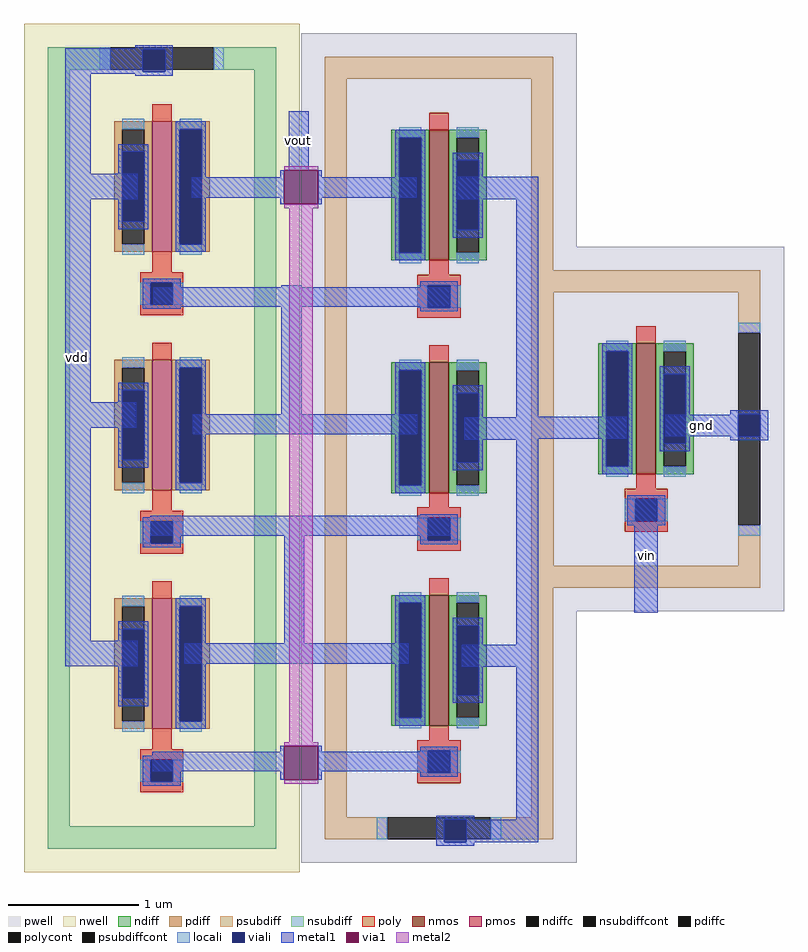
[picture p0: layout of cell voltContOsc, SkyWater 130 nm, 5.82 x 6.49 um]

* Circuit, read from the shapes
.subckt voltContOsc vin vout vdd gnd
XM1 gnd vout n1 gnd sky130_fd_pr__nfet_01v8 w=1 l=0.15
XM2 gnd n1 n2 gnd sky130_fd_pr__nfet_01v8 w=1 l=0.15
XM3 gnd n2 vout gnd sky130_fd_pr__nfet_01v8 w=1 l=0.15
XM4 gnd vin gnd gnd sky130_fd_pr__nfet_01v8 w=1 l=0.15
XM5 n1 vout vdd vdd sky130_fd_pr__pfet_01v8 w=1 l=0.15
XM6 n2 n1 vdd vdd sky130_fd_pr__pfet_01v8 w=1 l=0.15
XM7 vout n2 vdd vdd sky130_fd_pr__pfet_01v8 w=1 l=0.15
.ends

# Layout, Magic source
magic
tech sky130B
magscale 1 2
<< viali >>
rect 127 1158 161 1192
rect 1038 600 1072 634
rect 588 -21 622 13
<< metal1 >>
rect 115 1194 173 1198
rect 8 1192 173 1194
rect 8 1158 127 1192
rect 161 1158 173 1192
rect 8 1155 173 1158
rect 8 1002 47 1155
rect 115 1152 173 1155
rect 350 1007 381 1097
rect 8 963 119 1002
rect 337 996 343 1007
rect 202 965 343 996
rect 8 652 47 963
rect 337 955 343 965
rect 395 996 401 1007
rect 395 965 546 996
rect 395 955 401 965
rect 609 963 732 997
rect 339 828 370 831
rect 143 798 603 828
rect 8 613 117 652
rect 339 634 370 798
rect 8 287 47 613
rect 203 603 547 634
rect 698 630 732 963
rect 1026 634 1084 640
rect 1026 633 1038 634
rect 698 629 867 630
rect 619 596 867 629
rect 926 600 1038 633
rect 1072 600 1084 634
rect 619 595 732 596
rect 138 448 598 478
rect 8 248 119 287
rect 343 283 374 448
rect 190 252 534 283
rect 698 281 732 595
rect 1026 594 1084 600
rect 879 330 915 504
rect 615 247 732 281
rect 337 117 343 126
rect 141 87 343 117
rect 337 74 343 87
rect 395 117 401 126
rect 395 87 601 117
rect 395 74 401 87
rect 576 13 634 19
rect 698 13 732 247
rect 576 -21 588 13
rect 622 -21 732 13
rect 576 -27 634 -21
<< via1 >>
rect 343 955 395 1007
rect 343 74 395 126
<< metal2 >>
rect 343 1007 395 1013
rect 343 949 395 955
rect 351 132 387 949
rect 343 126 395 132
rect 343 68 395 74
use sky130_fd_pr__nfet_01v8_9HPPAM  sky130_fd_pr__nfet_01v8_9HPPAM_0
transform 1 0 580 0 1 582
box -211 -635 211 635
use sky130_fd_pr__nfet_01v8_B9CNTR  sky130_fd_pr__nfet_01v8_B9CNTR_0
transform 1 0 897 0 1 611
box -211 -279 211 279
use sky130_fd_pr__pfet_01v8_ZPUQXV  sky130_fd_pr__pfet_01v8_ZPUQXV_0
transform -1 0 156 0 1 582
box -211 -649 211 649
<< labels >>
flabel metal1 879 330 915 504 0 FreeSans 480 0 0 0 vin
port 1 nsew
flabel metal1 926 600 1038 633 0 FreeSans 480 0 0 0 gnd
port 4 nsew
flabel metal1 350 1007 381 1097 0 FreeSans 480 0 0 0 vout
port 2 nsew
flabel metal1 8 248 47 1194 0 FreeSans 480 0 0 0 vdd
port 3 nsew
<< end >>

# cell sky130_fd_pr__nfet_01v8_9HPPAM: kit device sky130_fd_pr__nfet_01v8, w 1 l 0.150 m 3 nf 1 diffcov 100 polycov 100 guard 1 glc 0 grc 0 gtc 0 gbc 1 tbcov 100 rlcov 100 topc 0 botc 1 poverlap 0 doverlap 1 lmin 0.15 wmin 0.42 compatible {sky130_fd_pr__nfet_01v8 sky130_fd_pr__nfet_01v8_lvt sky130_fd_bs_flash__special_sonosfet_star sky130_fd_pr__nfet_g5v0d10v5 sky130_fd_pr__nfet_05v0_nvt sky130_fd_pr__nfet_03v3_nvt} full_metal 0 viasrc 60 viadrn 100 viagate 100 viagb 0 viagr 0 viagl 0 viagt 0

# cell sky130_fd_pr__nfet_01v8_B9CNTR: kit device sky130_fd_pr__nfet_01v8, w 1 l 0.150 m 1 nf 1 diffcov 100 polycov 100 guard 1 glc 0 grc 1 gtc 0 gbc 0 tbcov 100 rlcov 100 topc 0 botc 1 poverlap 0 doverlap 1 lmin 0.15 wmin 0.42 compatible {sky130_fd_pr__nfet_01v8 sky130_fd_pr__nfet_01v8_lvt sky130_fd_bs_flash__special_sonosfet_star sky130_fd_pr__nfet_g5v0d10v5 sky130_fd_pr__nfet_05v0_nvt sky130_fd_pr__nfet_03v3_nvt} full_metal 0 viasrc 60 viadrn 100 viagate 100 viagb 0 viagr 0 viagl 0 viagt 0

# cell sky130_fd_pr__pfet_01v8_ZPUQXV: kit device sky130_fd_pr__pfet_01v8, w 1 l 0.15 m 3 nf 1 diffcov 100 polycov 100 guard 1 glc 0 grc 0 gtc 1 gbc 0 tbcov 100 rlcov 100 topc 0 botc 1 poverlap 0 doverlap 1 lmin 0.15 wmin 0.42 compatible {sky130_fd_pr__pfet_01v8 sky130_fd_pr__pfet_01v8_lvt sky130_fd_pr__pfet_01v8_hvt sky130_fd_pr__pfet_g5v0d10v5} full_metal 0 viasrc 60 viadrn 100 viagate 100 viagb 0 viagr 0 viagl 0 viagt 0
